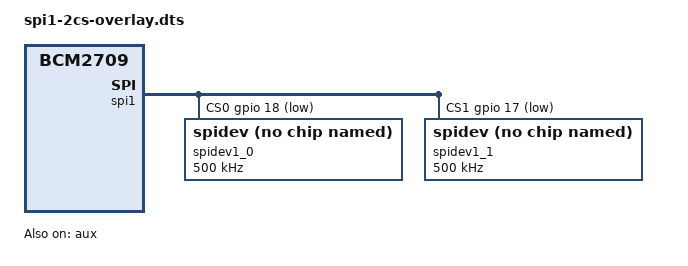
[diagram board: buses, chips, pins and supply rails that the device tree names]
/dts-v1/;
/plugin/;


/ {
	compatible = "brcm,bcm2835", "brcm,bcm2708", "brcm,bcm2709";

	fragment@0 {
		target = <&gpio>;
		__overlay__ {
			spi1_pins: spi1_pins {
				brcm,pins = <19 20 21>;
				brcm,function = <3>; /* alt4 */
			};

			spi1_cs_pins: spi1_cs_pins {
				brcm,pins = <18 17>;
				brcm,function = <1>; /* output */
			};
		};
	};

	fragment@1 {
		target = <&spi1>;
		frag1: __overlay__ {
			/* needed to avoid dtc warning */
			#address-cells = <1>;
			#size-cells = <0>;
			pinctrl-names = "default";
			pinctrl-0 = <&spi1_pins &spi1_cs_pins>;
			cs-gpios = <&gpio 18 1>, <&gpio 17 1>;
			status = "okay";

			spidev1_0: spidev@0 {
				compatible = "spidev";
				reg = <0>;      /* CE0 */
				#address-cells = <1>;
				#size-cells = <0>;
				spi-max-frequency = <500000>;
				status = "okay";
			};

			spidev1_1: spidev@1 {
				compatible = "spidev";
				reg = <1>;      /* CE1 */
				#address-cells = <1>;
				#size-cells = <0>;
				spi-max-frequency = <500000>;
				status = "okay";
			};
		};
	};

	fragment@2 {
		target = <&aux>;
		__overlay__ {
			status = "okay";
		};
	};

	__overrides__ {
		cs0_pin  = <&spi1_cs_pins>,"brcm,pins:0",
			   <&frag1>,"cs-gpios:4";
		cs1_pin  = <&spi1_cs_pins>,"brcm,pins:4",
			   <&frag1>,"cs-gpios:16";
		cs0_spidev = <&spidev1_0>,"status";
		cs1_spidev = <&spidev1_1>,"status";
	};
};
